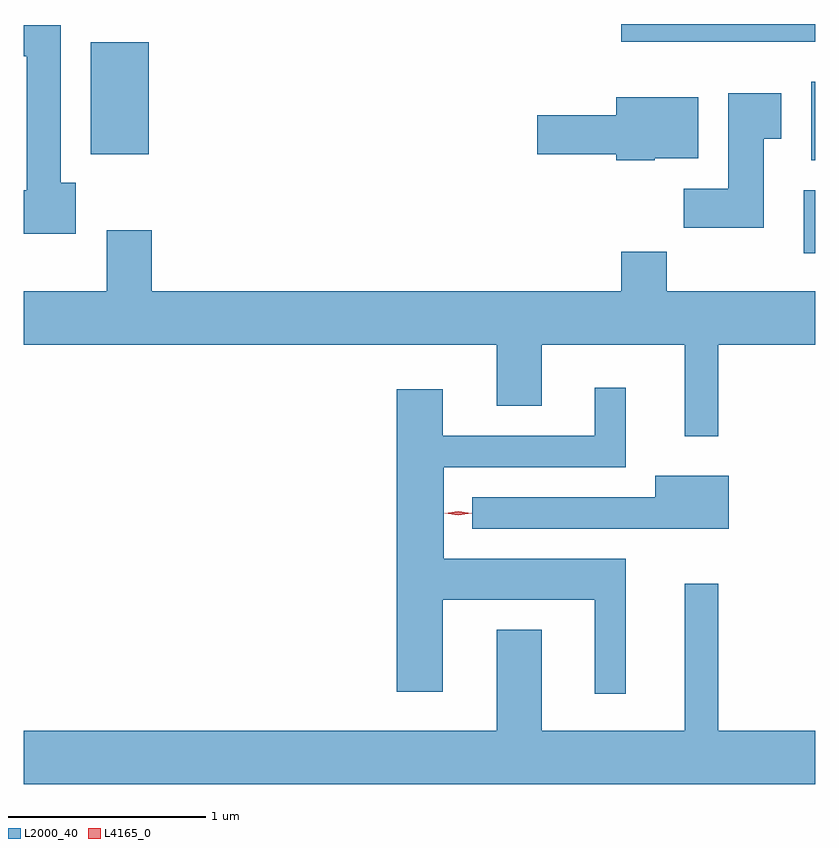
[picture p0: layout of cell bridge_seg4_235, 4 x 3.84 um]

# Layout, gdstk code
import gdstk
lib = gdstk.Library(unit=1e-6, precision=1e-09)
def R(c, l, rs):  # rectangles x0, y0, x1, y1
    for r in rs: c.add(gdstk.rectangle(r[:2], r[2:], *l))
def P(c, l, *ps):  # polygons
    for p in ps: c.add(gdstk.Polygon(p, *l))
L2000_40 = (2000, 40)
L4165_0 = (4165, 0)

bridge_seg4_235 = lib.new_cell('bridge_seg4_235')
R(bridge_seg4_235, L2000_40, [(584.761,1335.156,584.821,1335.474), (584.801,1335.626,584.821,1336.024), (581.161,1335.656,581.454,1336.224), (583.841,1336.226,584.821,1336.315)])
P(bridge_seg4_235, L2000_40, [(581.084,1335.514),(581.009,1335.514),(581.009,1336.309),(580.821,1336.309),(580.821,1336.151),(580.836,1336.151),(580.836,1335.474),(580.821,1335.474),(580.821,1335.256),(581.084,1335.256)],
  [(584.559,1335.736),(584.649,1335.736),(584.649,1335.964),(584.381,1335.964),(584.381,1335.484),(584.156,1335.484),(584.156,1335.286),(584.559,1335.286)],
  [(584.01,1335.636),(584.229,1335.636),(584.229,1335.944),(583.816,1335.944),(583.816,1335.854),(583.416,1335.854),(583.416,1335.656),(583.816,1335.656),(583.816,1335.626),(584.01,1335.626)],
  [(584.329,1334.696),(584.821,1334.696),(584.821,1334.964),(584.069,1334.964),(584.069,1335.164),(583.841,1335.164),(583.841,1334.964),(581.469,1334.964),(581.469,1335.274),(581.241,1335.274),(581.241,1334.964),(580.821,1334.964),(580.821,1334.696),(583.211,1334.696),(583.211,1334.386),(583.439,1334.386),(583.439,1334.696),(584.161,1334.696),(584.161,1334.233),(584.329,1334.233)],
  [(583.864,1333.614),(582.944,1333.614),(582.944,1334.076),(583.864,1334.076),(583.864,1334.478),(583.706,1334.478),(583.706,1334.234),(582.939,1334.234),(582.939,1334.469),(582.706,1334.469),(582.706,1332.941),(582.939,1332.941),(582.939,1333.406),(583.706,1333.406),(583.706,1332.933),(583.864,1332.933)],
  [(584.384,1334.034),(584.011,1334.034),(584.011,1333.924),(583.088,1333.924),(583.088,1333.766),(584.384,1333.766)],
  [(584.821,1332.744),(584.329,1332.744),(584.329,1333.488),(584.161,1333.488),(584.161,1332.744),(583.439,1332.744),(583.439,1333.254),(583.211,1333.254),(583.211,1332.744),(580.821,1332.744),(580.821,1332.476),(584.821,1332.476)])
P(bridge_seg4_235, L4165_0, [(583.017,1333.833),(582.948,1333.843),(582.947,1333.843),(582.948,1333.844),(583.017,1333.853),(583.086,1333.844),(583.086,1333.843),(583.086,1333.843)],
  [(583.017,1333.833),(582.951,1333.843),(582.95,1333.843),(582.951,1333.844),(583.017,1333.853),(583.082,1333.844),(583.083,1333.843),(583.082,1333.843)])

lib.write_gds('bridge_seg4_235.gds')
